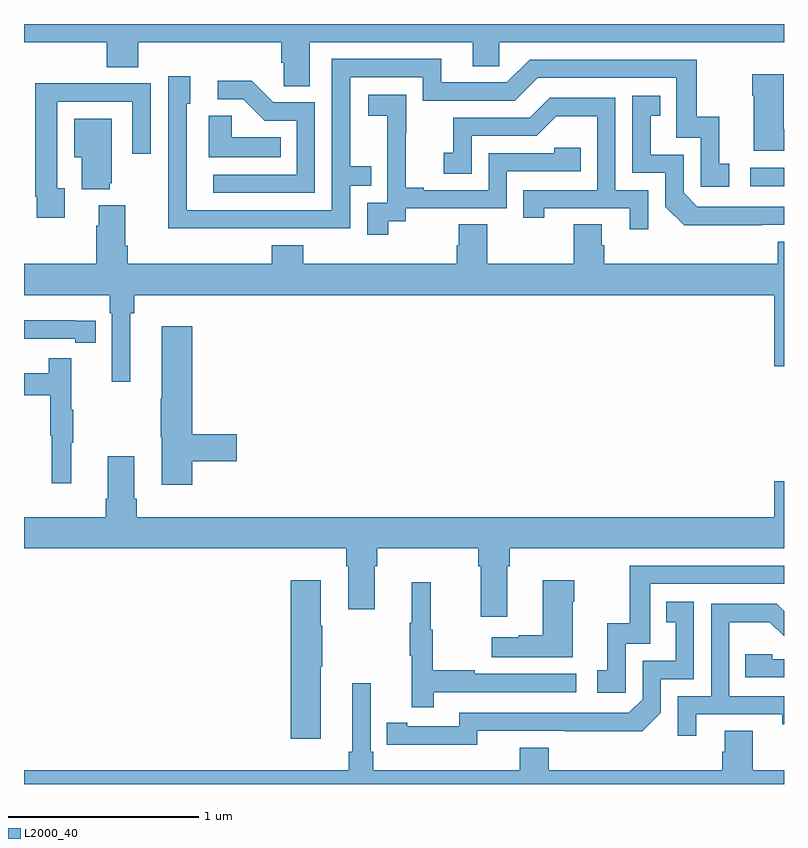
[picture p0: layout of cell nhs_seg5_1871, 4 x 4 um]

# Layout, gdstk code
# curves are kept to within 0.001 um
import gdstk
lib = gdstk.Library(unit=1e-6, precision=1e-09)
def R(c, l, rs):  # rectangles x0, y0, x1, y1
    for r in rs: c.add(gdstk.rectangle(r[:2], r[2:], *l))
def P(c, l, *ps):  # polygons
    for p in ps: c.add(gdstk.Polygon(p, *l))
L2000_40 = (2000, 40)

nhs_seg5_1871 = lib.new_cell('nhs_seg5_1871')
R(nhs_seg5_1871, L2000_40, [(224.823,911.946,225,912.042)])
P(nhs_seg5_1871, L2000_40, [(222.505,912.704),(223.361,912.704),(223.361,912.577),(223.5,912.577),(223.5,912.704),(225,912.704),(225,912.799),(221,912.799),(221,912.704),(221.435,912.704),(221.435,912.571),(221.6,912.571),(221.6,912.704),(222.353,912.704),(222.353,912.595),(222.366,912.595),(222.366,912.472),(222.505,912.472)],
  [(222.221,911.724),(222.717,911.724),(222.717,911.949),(222.827,911.949),(222.827,912.05),(222.717,912.05),(222.717,912.519),(223.098,912.519),(223.098,912.396),(223.584,912.396),(223.704,912.516),(224.433,912.516),(224.433,912.201),(224.562,912.201),(224.562,911.943),(224.713,911.943),(224.713,912.063),(224.66,912.063),(224.66,912.31),(224.542,912.31),(224.542,912.612),(223.662,912.612),(223.542,912.492),(223.195,912.492),(223.195,912.615),(222.621,912.615),(222.621,911.82),(221.856,911.82),(221.856,912.378),(221.875,912.378),(221.875,912.523),(221.76,912.523),(221.76,912.029),(221.758,912.029),(221.758,911.723)],
  [(225,912.245),(224.998,912.245),(224.998,912.535),(224.833,912.535),(224.833,912.422),(224.84,912.422),(224.84,912.131),(225,912.131)],
  [(222.531,912.387),(222.312,912.387),(222.199,912.5),(222.021,912.5),(222.021,912.402),(222.155,912.402),(222.266,912.291),(222.435,912.291),(222.435,912.006),(221.997,912.006),(221.997,911.91),(222.531,911.91)],
  [(221.215,911.934),(221.175,911.934),(221.175,912.39),(221.571,912.39),(221.571,912.117),(221.667,912.117),(221.667,912.486),(221.351,912.486),(221.351,912.488),(221.059,912.488),(221.059,911.89),(221.067,911.89),(221.067,911.778),(221.215,911.778)],
  [(222.916,911.761),(223.008,911.761),(223.008,911.829),(223.542,911.829),(223.542,912.024),(223.931,912.024),(223.931,912.147),(223.791,912.147),(223.791,912.12),(223.446,912.12),(223.446,911.925),(223.105,911.925),(223.105,911.938),(223.01,911.938),(223.01,912.221),(223.011,912.221),(223.011,912.427),(222.813,912.427),(222.813,912.317),(222.911,912.317),(222.911,912.089),(222.912,912.089),(222.912,911.859),(222.807,911.859),(222.807,911.691),(222.916,911.691)],
  [(224.882,911.742),(225,911.742),(225,911.838),(224.544,911.838),(224.472,911.91),(224.472,912.111),(224.299,912.111),(224.299,912.315),(224.348,912.315),(224.348,912.421),(224.202,912.421),(224.202,912.015),(224.376,912.015),(224.376,911.838),(224.474,911.741)],
  [(224.286,911.925),(224.112,911.925),(224.112,912.411),(223.766,912.411),(223.661,912.306),(223.258,912.306),(223.258,912.121),(223.209,912.121),(223.209,912.012),(223.356,912.012),(223.356,912.21),(223.698,912.21),(223.802,912.314),(224.016,912.314),(224.016,911.925),(223.627,911.925),(223.627,911.778),(223.738,911.778),(223.738,911.829),(224.189,911.829),(224.189,911.718),(224.286,911.718)],
  [(222.35,912.202),(222.093,912.202),(222.093,912.317),(221.972,912.317),(221.972,912.098),(222.35,912.098)],
  [(221.45,911.961),(221.461,911.961),(221.461,912.301),(221.264,912.301),(221.264,912.098),(221.303,912.098),(221.303,911.93),(221.45,911.93)],
  [(221.56,911.276),(221.579,911.276),(221.579,911.372),(224.948,911.372),(224.948,910.998),(225,910.998),(225,911.653),(224.966,911.653),(224.966,911.536),(224.054,911.536),(224.054,911.634),(224.041,911.634),(224.041,911.744),(223.894,911.744),(223.894,911.536),(223.437,911.536),(223.437,911.744),(223.289,911.744),(223.289,911.634),(223.277,911.634),(223.277,911.536),(222.47,911.536),(222.47,911.635),(222.305,911.635),(222.305,911.536),(221.546,911.536),(221.546,911.632),(221.533,911.632),(221.533,911.845),(221.393,911.845),(221.393,911.738),(221.381,911.738),(221.381,911.536),(221,911.536),(221,911.372),(221.45,911.372),(221.45,911.276),(221.463,911.276),(221.463,910.917),(221.56,910.917)],
  [(221.378,911.238),(221.27,911.238),(221.27,911.239),(221,911.239),(221,911.142),(221.27,911.142),(221.27,911.122),(221.378,911.122)],
  [(221.885,910.498),(222.121,910.498),(222.121,910.64),(221.885,910.64),(221.885,911.209),(221.726,911.209),(221.726,910.829),(221.719,910.829),(221.719,910.623),(221.726,910.623),(221.726,910.374),(221.885,910.374)],
  [(221.249,910.595),(221.26,910.595),(221.26,910.769),(221.249,910.769),(221.249,911.041),(221.131,911.041),(221.131,910.962),(221,910.962),(221,910.846),(221.139,910.846),(221.139,910.632),(221.146,910.632),(221.146,910.383),(221.249,910.383)],
  [(221.594,910.3),(221.581,910.3),(221.581,910.525),(221.441,910.525),(221.441,910.3),(221.429,910.3),(221.429,910.204),(221,910.204),(221,910.04),(222.695,910.04),(222.695,909.944),(222.707,909.944),(222.707,909.72),(222.847,909.72),(222.847,909.944),(222.86,909.944),(222.86,910.04),(223.391,910.04),(223.391,909.944),(223.403,909.944),(223.403,909.678),(223.543,909.678),(223.543,909.944),(223.556,909.944),(223.556,910.04),(225,910.04),(225,910.393),(224.948,910.393),(224.948,910.204),(221.594,910.204)],
  [(224.166,909.537),(224.295,909.537),(224.295,909.852),(225,909.852),(225,909.948),(224.187,909.948),(224.187,909.646),(224.069,909.646),(224.069,909.399),(224.016,909.399),(224.016,909.279),(224.166,909.279)],
  [(223.888,909.758),(223.896,909.758),(223.896,909.871),(223.73,909.871),(223.73,909.581),(223.604,909.581),(223.604,909.571),(223.461,909.571),(223.461,909.467),(223.888,909.467)],
  [(222.562,909.415),(222.57,909.415),(222.57,909.632),(222.562,909.632),(222.562,909.871),(222.404,909.871),(222.404,909.036),(222.562,909.036)],
  [(223.157,909.282),(223.906,909.282),(223.906,909.378),(223.373,909.378),(223.373,909.398),(223.15,909.398),(223.15,909.612),(223.142,909.612),(223.142,909.862),(223.04,909.862),(223.04,909.649),(223.029,909.649),(223.029,909.475),(223.04,909.475),(223.04,909.204),(223.157,909.204)],
  [(223.386,909.078),(224.254,909.077),(224.352,909.174),(224.352,909.351),(224.526,909.351),(224.526,909.757),(224.38,909.757),(224.38,909.651),(224.429,909.651),(224.429,909.447),(224.256,909.447),(224.256,909.246),(224.184,909.174),(223.29,909.174),(223.29,909.102),(223.018,909.102),(223.018,909.122),(222.91,909.122),(222.91,909.006),(223.386,909.005)],
  [(224.539,909.165),(224.99,909.165),(224.99,909.114),(225,909.114),(225,909.261),(224.712,909.261),(224.712,909.65),(224.926,909.65),(225,909.576),(225,909.709),(224.962,909.747),(224.616,909.747),(224.616,909.261),(224.442,909.261),(224.442,909.054),(224.539,909.054)],
  [(225,909.456),(224.937,909.456),(224.937,909.483),(224.797,909.483),(224.797,909.36),(225,909.36)],
  [(225,908.872),(224.835,908.872),(224.835,909.08),(224.687,909.08),(224.687,908.97),(224.675,908.97),(224.675,908.872),(223.763,908.872),(223.763,908.989),(223.61,908.989),(223.61,908.872),(222.839,908.872),(222.839,908.968),(222.825,908.968),(222.825,909.328),(222.728,909.328),(222.728,908.968),(222.709,908.968),(222.709,908.872),(221,908.872),(221,908.799),(225,908.799)])

lib.write_gds('nhs_seg5_1871.gds')
